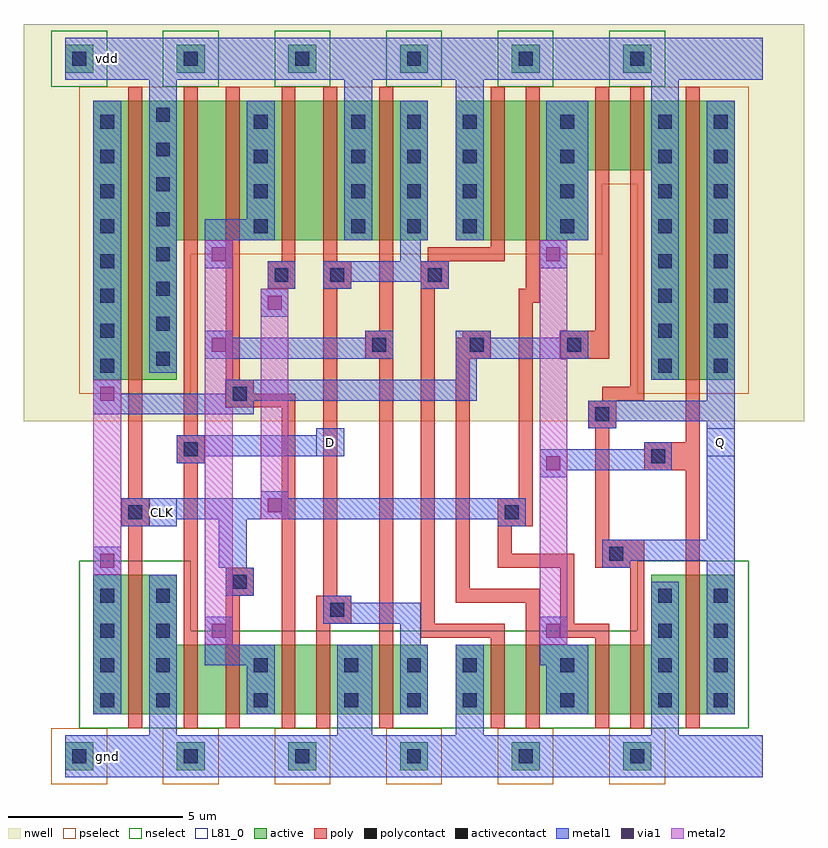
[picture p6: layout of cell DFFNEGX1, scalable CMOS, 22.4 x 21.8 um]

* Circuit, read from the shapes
.subckt DFFNEGX1 CLK D Q gnd vdd
M1 gnd CLK n1 gnd nfet w=4u l=0.4u
M2 n2 D gnd gnd nfet w=2u l=0.4u
M3 n3 CLK n2 gnd nfet w=2u l=0.4u
M4 n4 n1 n3 gnd nfet w=2u l=0.4u
M5 gnd n5 n4 gnd nfet w=2u l=0.4u
M6 n5 n3 gnd gnd nfet w=2u l=0.4u
M7 n6 n5 gnd gnd nfet w=2u l=0.4u
M8 n7 n1 n6 gnd nfet w=2u l=0.4u
M9 n8 CLK n7 gnd nfet w=2u l=0.4u
M10 gnd Q n8 gnd nfet w=2u l=0.4u
M11 Q n7 gnd gnd nfet w=4u l=0.4u
M12 vdd CLK n1 vdd pfet w=8u l=0.4u
M13 n9 D vdd vdd pfet w=4u l=0.4u
M14 n3 n1 n9 vdd pfet w=4u l=0.4u
M15 n10 CLK n3 vdd pfet w=4u l=0.4u
M16 vdd n5 n10 vdd pfet w=4u l=0.4u
M17 n5 n3 vdd vdd pfet w=4u l=0.4u
M18 n11 n5 vdd vdd pfet w=4u l=0.4u
M19 n7 CLK n11 vdd pfet w=4u l=0.4u
M20 n12 n1 n7 vdd pfet w=2u l=0.4u
M21 vdd Q n12 vdd pfet w=2u l=0.4u
M22 Q n7 vdd vdd pfet w=8u l=0.4u
.ends

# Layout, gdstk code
import gdstk
lib = gdstk.Library(unit=1e-6, precision=1e-09)
def R(c, l, rs):  # rectangles x0, y0, x1, y1
    for r in rs: c.add(gdstk.rectangle(r[:2], r[2:], *l))
def A(c, l, x, y, w, h, nx, ny, dx, dy):  # array of equal rectangles
    R(c, l, [(x+i*dx, y+j*dy, x+i*dx+w, y+j*dy+h) for i in range(nx) for j in range(ny)])
nwell = (42, 0)
active = (43, 0)
pselect = (44, 0)
nselect = (45, 0)
poly = (46, 0)
polycontact = (47, 0)
activecontact = (48, 0)
metal1 = (49, 0)
via1 = (50, 0)
metal2 = (51, 0)
L81_0 = (81, 0)

dffnegx1 = lib.new_cell('DFFNEGX1')
R(dffnegx1, nwell, [(-1.6,9.6,20.8,21)])
A(dffnegx1, active, -0.4, -0.4, 0.8, 0.8, 6, 2, 3.2, 20)
R(dffnegx1, active, [(0.4,1.2,10,3.2), (10.8,1.2,18.8,3.2), (0.4,3.2,2.8,5.2), (16.4,3.2,18.8,5.2), (0.4,10.8,2.8,14.8), (16.4,10.8,18.8,16.8), (0.4,14.8,10,18.8), (10.8,14.8,14.6,16.8), (10.8,16.8,18.8,18.8)])
A(dffnegx1, pselect, -0.8, -0.8, 1.6, 1.6, 6, 1, 3.2, 0)
R(dffnegx1, pselect, [(0,10.4,3.2,14.4), (16,10.4,19.2,16.4), (0,14.4,15,16.4), (0,16.4,19.2,19.2)])
A(dffnegx1, nselect, -0.8, 19.2, 1.6, 1.6, 6, 1, 3.2, 0)
R(dffnegx1, nselect, [(0,0.8,19.2,3.6), (0,3.6,3.2,5.6), (16,3.6,19.2,5.6)])
R(dffnegx1, poly, [(1.4,0.8,1.8,6.6), (3,0.8,3.4,8.4), (4.2,0.8,4.6,4.6), (5.8,0.8,6.2,10), (6.8,0.8,7.2,3.8), (8.6,0.8,9,11.4), (11.8,0.8,12.2,3.4), (12.8,0.8,13.2,4.4), (14.8,0.8,15.2,3.4), (15.8,0.8,16.2,5.4), (17.4,0.8,17.8,8.2), (9.8,3.4,12.2,3.8), (13.8,3.4,15.2,3.8), (6.8,3.8,7.8,4.6), (9.8,3.8,10.2,13.4), (13.8,3.8,14.2,5.4), (10.8,4.4,13.2,4.8), (4.2,4.6,5,5.4), (7,4.6,7.4,13.4), (10.8,4.8,11.2,11.4), (12,5.4,14.2,5.8), (14.8,5.4,16.2,6.2), (12,5.8,12.4,6.6), (14.8,6.2,15.2,9.4), (1.2,6.6,2,7.4), (12,6.6,13,7.4), (1.4,7.4,1.8,19.2), (12.6,7.4,13,13), (16.2,8.2,17.8,9), (2.8,8.4,3.6,9.2), (17.4,9,17.8,19.2), (3,9.2,3.4,19.2), (14.6,9.4,15.4,10.2), (4.2,10,6.2,10.4), (15,10.2,16.2,10.6), (4.2,10.4,5,10.8), (15.8,10.6,16.2,19.2), (4.2,10.8,4.6,19.2), (8.2,11.4,9,12.2), (10.8,11.4,11.8,12), (13.8,11.4,15.2,12.2), (11,12,11.8,12.2), (8.6,12.2,9,19.2), (14.8,12.2,15.2,19.2), (12.6,13,13.2,13.4), (5.4,13.4,6.2,14.2), (7,13.4,7.8,14.2), (9.8,13.4,10.6,14.2), (12.8,13.4,13.2,19.2), (5.8,14.2,6.2,19.2), (7,14.2,7.4,19.2), (10,14.2,12.2,14.6), (11.8,14.6,12.2,19.2)])
A(dffnegx1, polycontact, 8.4, 11.6, 0.4, 0.4, 3, 1, 2.8, 0)
R(dffnegx1, polycontact, [(7.2,4,7.6,4.4), (4.4,4.8,4.8,5.2), (15.2,5.6,15.6,6), (1.4,6.8,1.8,7.2), (12.2,6.8,12.6,7.2), (16.4,8.4,16.8,8.8), (3,8.6,3.4,9), (14.8,9.6,15.2,10), (4.4,10.2,4.8,10.6), (5.6,13.6,6,14), (7.2,13.6,7.6,14), (10,13.6,10.4,14)])
A(dffnegx1, activecontact, -0.2, -0.2, 0.4, 0.4, 6, 2, 3.2, 20)
A(dffnegx1, activecontact, 0.6, 1.4, 0.4, 0.4, 1, 4, 0, 1)
A(dffnegx1, activecontact, 2.2, 1.4, 0.4, 0.4, 1, 4, 0, 1)
A(dffnegx1, activecontact, 11, 1.4, 0.4, 0.4, 3, 2, 2.8, 1)
A(dffnegx1, activecontact, 18.2, 1.4, 0.4, 0.4, 1, 4, 0, 1)
A(dffnegx1, activecontact, 0.6, 11, 0.4, 0.4, 1, 8, 0, 1)
A(dffnegx1, activecontact, 16.6, 11, 0.4, 0.4, 1, 8, 0, 1)
A(dffnegx1, activecontact, 18.2, 11, 0.4, 0.4, 1, 8, 0, 1)
A(dffnegx1, activecontact, 2.2, 11.2, 0.4, 0.4, 1, 8, 0, 1)
A(dffnegx1, activecontact, 5, 15, 0.4, 0.4, 1, 4, 0, 1)
A(dffnegx1, activecontact, 7.8, 15, 0.4, 0.4, 3, 4, 1.6, 1)
A(dffnegx1, activecontact, 13.8, 15, 0.4, 0.4, 1, 4, 0, 1)
R(dffnegx1, activecontact, [(5,1.4,5.4,1.8), (7.6,1.4,8,1.8), (9.4,1.4,9.8,1.8), (5,2.4,5.4,2.8), (7.6,2.4,8,2.8), (9.4,2.4,9.8,2.8), (16.6,3.4,17,3.8), (16.6,4.4,17,4.8)])
R(dffnegx1, metal1, [(-0.4,-0.6,19.6,0.6), (2,0.6,2.8,5.2), (7.4,0.6,8.4,3.2), (10.8,0.6,11.6,3.2), (16.4,0.6,17.2,5), (0.4,1.2,1.2,6), (4.8,1.2,5.6,2.6), (9.2,1.2,10,3.2), (13.4,1.2,14.6,2.6), (18,1.2,18.8,5.6), (3.6,2.6,5.6,3.2), (13.2,2.6,14.6,3.2), (3.6,3.2,4.4,4), (9.2,3.2,9.8,3.8), (13.2,3.2,14,4), (7,3.8,9.8,4.4), (7,4.4,7.8,4.6), (4.2,4.6,5,5.4), (4,5.4,4.8,6.8), (15,5.4,15.8,5.6), (15,5.6,18.8,6.2), (18,6.2,18.8,9.6), (1.2,6.6,2.8,6.8), (12,6.6,12.8,6.8), (1.2,6.8,12.8,7.4), (5.2,7.4,6,7.6), (13.2,8,14,8.2), (13.2,8.2,17,8.8), (2.8,8.4,3.6,8.6), (2.8,8.6,7.6,9.2), (16.2,8.8,17,9), (6.8,9.2,7.6,9.4), (14.6,9.4,15.4,9.6), (14.6,9.6,18.8,10.2), (0.4,9.8,5,10.2), (0.4,10.2,11.4,10.4), (18,10.2,18.8,18.8), (0.4,10.4,1.2,18.8), (4.2,10.4,11.4,10.8), (10.8,10.8,11.4,11.4), (16.4,10.8,17.2,19.4), (2,11,2.8,19.4), (3.6,11.4,9,12), (10.8,11.4,14.6,12), (3.6,12,4.4,12.2), (8.2,12,9,12.2), (10.8,12,11.8,12.2), (13.8,12,14.6,12.2), (5.2,12.6,6,13.4), (5.4,13.4,6.2,14.2), (7,13.4,7.8,13.6), (9.8,13.4,10.6,13.6), (7,13.6,10.6,14.2), (3.6,14,4.4,14.8), (13.2,14,14,14.8), (9.2,14.2,9.8,14.8), (3.6,14.8,5.6,15.4), (7.6,14.8,8.4,19.4), (9.2,14.8,10,18.8), (10.8,14.8,11.6,19.4), (13.4,14.8,14.6,18.8), (4.8,15.4,5.6,18.8), (-0.4,19.4,19.6,20.6)])
R(dffnegx1, via1, [(3.8,3.4,4.2,3.8), (13.4,3.4,13.8,3.8), (0.6,5.4,1,5.8), (5.4,7,5.8,7.4), (13.4,8.2,13.8,8.6), (0.6,10.2,1,10.6), (3.8,11.6,4.2,12), (5.4,12.8,5.8,13.2), (3.8,14.2,4.2,14.6), (13.4,14.2,13.8,14.6)])
R(dffnegx1, metal2, [(3.6,3.2,4.4,10), (13.2,3.2,14,11.4), (0.4,5.2,1.2,10.8), (5.2,6.8,6,13.4), (3.6,10,4.2,10.8), (3.6,10.8,4.4,14.8), (13.2,11.4,13.8,12.2), (13.2,12.2,14,14.8)])
R(dffnegx1, L81_0, [(2,6.6,2.8,7.4), (6.8,8.6,7.6,9.4), (18,8.6,18.8,9.4)])
dffnegx1.add(gdstk.Label('CLK', (2.4,7), layer=109, texttype=0))
dffnegx1.add(gdstk.Label('vdd', (0.8,20), layer=109, texttype=0))
dffnegx1.add(gdstk.Label('D', (7.2,9), layer=109, texttype=0))
dffnegx1.add(gdstk.Label('gnd', (0.8,0), layer=109, texttype=0))
dffnegx1.add(gdstk.Label('Q', (18.4,9), layer=109, texttype=0))

lib.write_gds('DFFNEGX1.gds')
